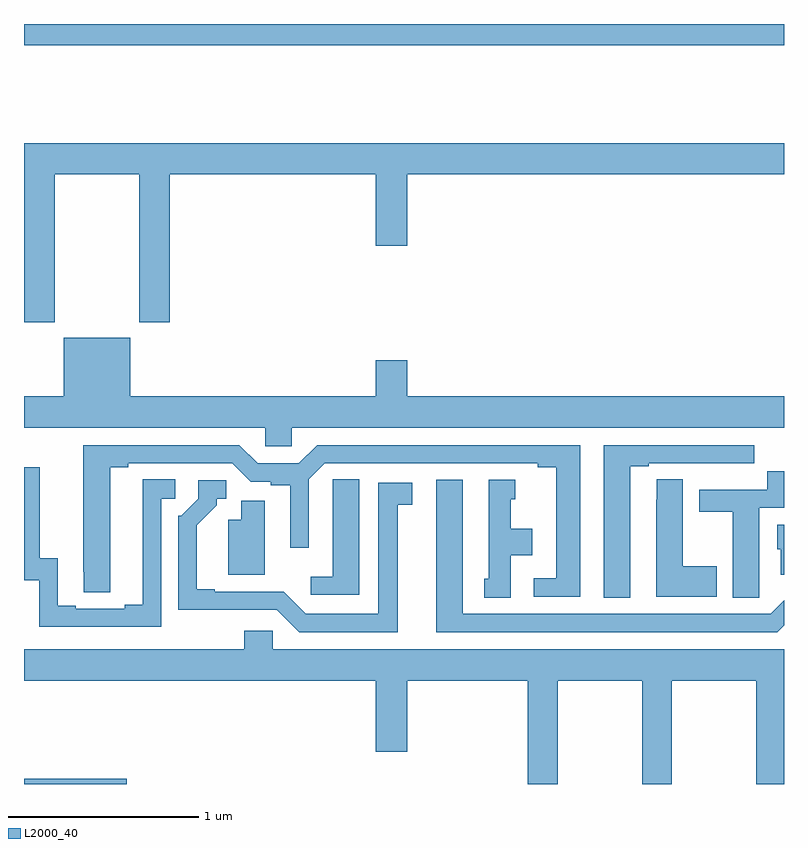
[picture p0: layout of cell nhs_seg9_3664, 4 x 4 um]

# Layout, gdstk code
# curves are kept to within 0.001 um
import gdstk
lib = gdstk.Library(unit=1e-6, precision=1e-09)
def R(c, l, rs):  # rectangles x0, y0, x1, y1
    for r in rs: c.add(gdstk.rectangle(r[:2], r[2:], *l))
def P(c, l, *ps):  # polygons
    for p in ps: c.add(gdstk.Polygon(p, *l))
L2000_40 = (2000, 40)

nhs_seg9_3664 = lib.new_cell('nhs_seg9_3664')
R(nhs_seg9_3664, L2000_40, [(319,1238.5,319.54,1238.528), (319,1242.388,323,1242.5)])
P(nhs_seg9_3664, L2000_40, [(319.161,1241.708),(319.606,1241.708),(319.606,1240.929),(319.766,1240.929),(319.766,1241.708),(320.852,1241.708),(320.852,1241.334),(321.016,1241.334),(321.016,1241.708),(323,1241.708),(323,1241.872),(319,1241.872),(319,1241.708),(319.001,1241.708),(319.001,1240.929),(319.161,1240.929)],
  [(320.409,1240.376),(323,1240.376),(323,1240.54),(321.016,1240.54),(321.016,1240.729),(320.852,1240.729),(320.852,1240.54),(319.558,1240.54),(319.558,1240.849),(319.208,1240.849),(319.208,1240.54),(319,1240.54),(319,1240.376),(320.271,1240.376),(320.271,1240.278),(320.409,1240.278)],
  [(322.192,1240.173),(322.288,1240.173),(322.288,1240.188),(322.564,1240.188),(322.564,1240.187),(322.73,1240.187),(322.73,1240.188),(322.843,1240.188),(322.843,1240.284),(322.052,1240.284),(322.052,1239.481),(322.192,1239.481)],
  [(321.928,1240.284),(320.543,1240.284),(320.447,1240.188),(320.229,1240.188),(320.133,1240.284),(319.313,1240.284),(319.314,1239.508),(319.453,1239.508),(319.453,1240.168),(319.549,1240.168),(319.549,1240.188),(320.097,1240.188),(320.193,1240.092),(320.298,1240.092),(320.298,1240.072),(320.402,1240.072),(320.402,1239.744),(320.499,1239.744),(320.499,1240.104),(320.583,1240.188),(321.704,1240.188),(321.704,1240.168),(321.8,1240.168),(321.8,1239.582),(321.684,1239.582),(321.684,1239.486),(321.928,1239.486)],
  [(319.722,1240.002),(319.795,1240.002),(319.795,1240.103),(319.625,1240.103),(319.625,1239.443),(319.529,1239.443),(319.529,1239.423),(319.273,1239.423),(319.273,1239.438),(319.177,1239.438),(319.177,1239.689),(319.083,1239.689),(319.083,1240.167),(319,1240.167),(319,1239.573),(319.08,1239.573),(319.08,1239.327),(319.722,1239.327)],
  [(322.869,1239.592),(322.87,1239.592),(322.87,1239.954),(323,1239.954),(323,1240.147),(322.912,1240.147),(322.912,1240.05),(322.553,1240.05),(322.553,1239.934),(322.73,1239.934),(322.73,1239.481),(322.869,1239.481)],
  [(320.764,1240.103),(320.625,1240.103),(320.625,1239.995),(320.624,1239.995),(320.624,1239.592),(320.508,1239.592),(320.508,1239.495),(320.764,1239.495)],
  [(322.645,1239.645),(322.468,1239.645),(322.468,1240.103),(322.329,1240.103),(322.329,1239.995),(322.328,1239.995),(322.328,1239.485),(322.645,1239.485)],
  [(323,1239.335),(323,1239.467),(322.929,1239.396),(321.31,1239.396),(321.31,1240.102),(321.17,1240.102),(321.17,1239.3),(322.965,1239.3)],
  [(321.562,1239.704),(321.676,1239.704),(321.676,1239.844),(321.562,1239.844),(321.562,1239.999),(321.586,1239.999),(321.586,1240.102),(321.446,1240.102),(321.446,1239.579),(321.422,1239.579),(321.422,1239.481),(321.562,1239.481)],
  [(320.968,1239.97),(321.043,1239.97),(321.043,1240.086),(320.864,1240.086),(320.864,1239.396),(320.484,1239.396),(320.367,1239.513),(320.005,1239.513),(320.005,1239.526),(319.909,1239.526),(319.909,1239.862),(320.014,1239.967),(320.014,1240.002),(320.064,1240.002),(320.064,1240.098),(319.917,1240.098),(319.917,1240.002),(319.827,1239.912),(319.812,1239.912),(319.812,1239.416),(320.331,1239.417),(320.448,1239.3),(320.968,1239.3)],
  [(320.266,1239.99),(320.144,1239.99),(320.144,1239.892),(320.075,1239.892),(320.075,1239.602),(320.266,1239.602)],
  [(323,1239.865),(322.964,1239.865),(322.964,1239.735),(322.982,1239.735),(322.982,1239.602),(323,1239.602)],
  [(321.81,1239.044),(322.255,1239.044),(322.255,1238.5),(322.41,1238.5),(322.41,1239.044),(322.855,1239.044),(322.855,1238.5),(323,1238.5),(323,1239.208),(320.31,1239.208),(320.31,1239.306),(320.159,1239.306),(320.159,1239.208),(319,1239.208),(319,1239.044),(320.852,1239.044),(320.852,1238.67),(321.016,1238.67),(321.016,1239.044),(321.65,1239.044),(321.65,1238.5),(321.81,1238.5)])

lib.write_gds('nhs_seg9_3664.gds')
